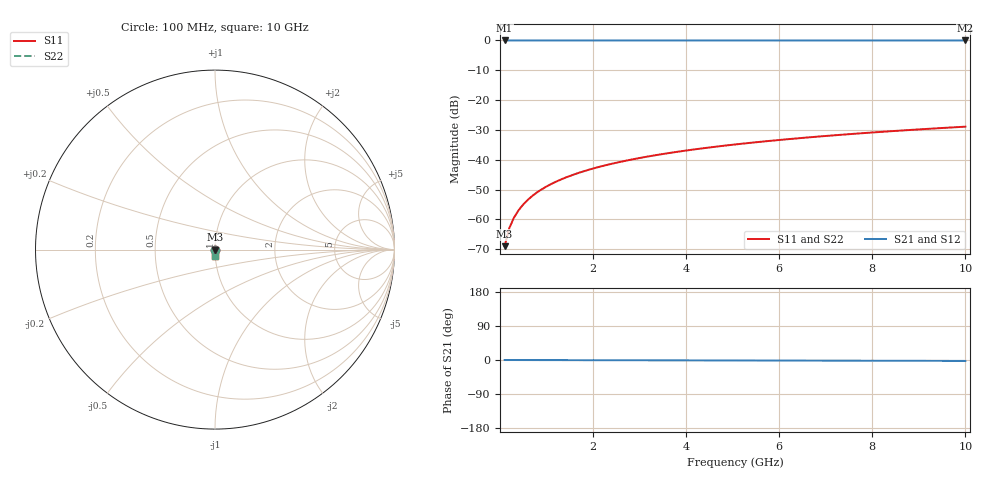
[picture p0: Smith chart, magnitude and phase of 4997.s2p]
# Hz S RI R 50.00
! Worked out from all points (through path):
!   100 points, 100 MHz to 10 GHz, reference 50 ohm
!   highest |S21| = 0.00 dB at 100 MHz (marker M1); lowest = 0.0 dB at 10 GHz (marker M2)
!   lowest |S11| = -69.0 dB at 100 MHz (marker M3), VSWR 1.00, Z = 50 - j0.0356 ohm
!   |S11| at or under -10 dB: start of sweep to end of sweep
!   |S22| runs from -69.0 to -28.9 dB; largest |S21 - S12| = 0
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1e8  1.22e-05 -0.000356  1 -0.000419  1 -0.000419  1.22e-05 -0.000356
2e8  1.15e-05 -0.000713  1 -0.000838  1 -0.000838  1.15e-05 -0.000713
3e8  1.04e-05 -0.00107  1 -0.00126  1 -0.00126  1.04e-05 -0.00107
4e8  9.07e-06 -0.00143  1 -0.00168  1 -0.00168  9.07e-06 -0.00143
5e8  7.4e-06 -0.00178  1 -0.0021  1 -0.0021  7.4e-06 -0.00178
6e8  5.42e-06 -0.00214  1 -0.00252  1 -0.00252  5.42e-06 -0.00214
7e8  3.13e-06 -0.0025  1 -0.00293  1 -0.00293  3.13e-06 -0.0025
8e8  5.5e-07 -0.00285  1 -0.00335  1 -0.00335  5.5e-07 -0.00285
9e8  -2.34e-06 -0.00321  1 -0.00377  1 -0.00377  -2.34e-06 -0.00321
1.1e9  -9.01e-06 -0.00392  1 -0.00461  1 -0.00461  -9.01e-06 -0.00392
1.4e9  -2.13e-05 -0.00499  1 -0.00587  1 -0.00587  -2.13e-05 -0.00499
1.8e9  -4.19e-05 -0.00642  0.9999 -0.00755  0.9999 -0.00755  -4.19e-05 -0.00642
2.1e9  -6.04e-05 -0.00749  0.9999 -0.00881  0.9999 -0.00881  -6.04e-05 -0.00749
2.5e9  -8.95e-05 -0.00892  0.9999 -0.0105  0.9999 -0.0105  -8.95e-05 -0.00892
2.9e9  -0.000123 -0.0103  0.9998 -0.0122  0.9998 -0.0122  -0.000123 -0.0103
3.4e9  -0.000172 -0.0121  0.9998 -0.0143  0.9998 -0.0143  -0.000172 -0.0121
4.2e9  -0.000267 -0.015  0.9997 -0.0176  0.9997 -0.0176  -0.000267 -0.015
5.1e9  -0.000396 -0.0182  0.9996 -0.0214  0.9996 -0.0214  -0.000396 -0.0182
5.9e9  -0.000532 -0.0211  0.9994 -0.0248  0.9994 -0.0248  -0.000532 -0.0211
6.7e9  -0.000688 -0.024  0.9993 -0.0282  0.9993 -0.0282  -0.000688 -0.024
8.4e9  -0.00108 -0.0301  0.9989 -0.0354  0.9989 -0.0354  -0.00108 -0.0301
1e10  -0.00154 -0.0359  0.9984 -0.0422  0.9984 -0.0422  -0.00154 -0.0359
